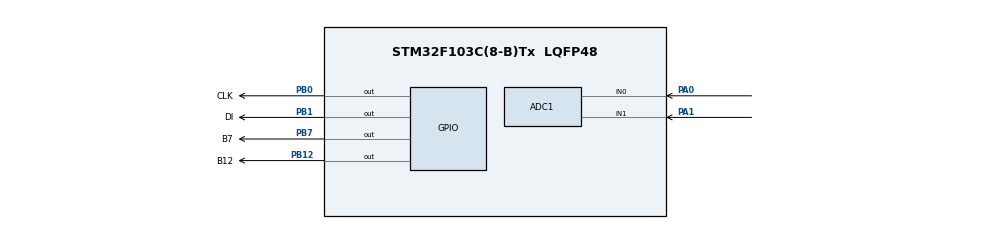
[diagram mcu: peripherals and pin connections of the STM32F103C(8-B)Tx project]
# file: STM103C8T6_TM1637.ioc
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ADC1.Channel-0\#ChannelRegularConversion=ADC_CHANNEL_0
ADC1.NbrOfConversionFlag=1
ADC1.Rank-0\#ChannelRegularConversion=1
ADC1.SamplingTime-0\#ChannelRegularConversion=ADC_SAMPLETIME_1CYCLE_5
ADC1.master=1
Mcu.Family=STM32F1
Mcu.Name=STM32F103C(8-B)Tx
Mcu.Package=LQFP48
NVIC.PriorityGroup=NVIC_PRIORITYGROUP_4
PA0-WKUP.Signal=ADCx_IN0
PA1.Signal=ADCx_IN1
PA13.Mode=Serial_Wire
PA13.Signal=SYS_JTMS-SWDIO
PA14.Mode=Serial_Wire
PA14.Signal=SYS_JTCK-SWCLK
PB0.GPIO_Label=CLK
PB0.GPIO_ModeDefaultOutputPP=GPIO_MODE_OUTPUT_OD
PB0.GPIO_PuPd=GPIO_PULLUP
PB0.GPIO_Speed=GPIO_SPEED_FREQ_HIGH
PB0.Signal=GPIO_Output
PB1.GPIO_Label=DI
PB1.GPIO_ModeDefaultOutputPP=GPIO_MODE_OUTPUT_OD
PB1.GPIO_PuPd=GPIO_PULLUP
PB1.GPIO_Speed=GPIO_SPEED_FREQ_HIGH
PB1.Signal=GPIO_Output
PB12.GPIO_Label=B12
PB12.Signal=GPIO_Output
PB7.GPIO_Label=B7
PB7.Signal=GPIO_Output
PD0-OSC_IN.Mode=HSE-External-Oscillator
PD0-OSC_IN.Signal=RCC_OSC_IN
PD1-OSC_OUT.Mode=HSE-External-Oscillator
PD1-OSC_OUT.Signal=RCC_OSC_OUT
ProjectManager.HeapSize=0x200
ProjectManager.StackSize=0x400
ProjectManager.TargetToolchain=TrueSTUDIO
RCC.ADCPresc=RCC_ADCPCLK2_DIV6
RCC.AHBFreq_Value=72000000
RCC.APB1CLKDivider=RCC_HCLK_DIV2
RCC.APB1Freq_Value=36000000
RCC.APB1TimFreq_Value=72000000
RCC.APB2Freq_Value=72000000
RCC.APB2TimFreq_Value=72000000
RCC.EnbaleCSS=true
RCC.HCLKFreq_Value=72000000
RCC.PLLMUL=RCC_PLL_MUL9
RCC.PLLSourceVirtual=RCC_PLLSOURCE_HSE
RCC.SYSCLKFreq_VALUE=72000000
RCC.SYSCLKSource=RCC_SYSCLKSOURCE_PLLCLK
RCC.USBFreq_Value=72000000
SH.ADCx_IN0.0=ADC1_IN0,IN0
SH.ADCx_IN1.0=ADC1_IN1,IN1
VP_TIM2_VS_ClockSourceINT.Mode=Internal
board=custom

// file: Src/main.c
/* USER CODE BEGIN Header */
/**
  ******************************************************************************
  * @file           : main.c
  * @brief          : Main program body
  ******************************************************************************
  ** This notice applies to any and all portions of this file
  * that are not between comment pairs USER CODE BEGIN and
  * USER CODE END. Other portions of this file, whether
  * inserted by the user or by software development tools
  * are owned by their respective copyright owners.
  *
  * COPYRIGHT(c) 2019 STMicroelectronics
  *
  * Redistribution and use in source and binary forms, with or without modification,
  * are permitted provided that the following conditions are met:
  *   1. Redistributions of source code must retain the above copyright notice,
  *      this list of conditions and the following disclaimer.
  *   2. Redistributions in binary form must reproduce the above copyright notice,
  *      this list of conditions and the following disclaimer in the documentation
  *      and/or other materials provided with the distribution.
  *   3. Neither the name of STMicroelectronics nor the names of its contributors
  *      may be used to endorse or promote products derived from this software
  *      without specific prior written permission.
  *
  * THIS SOFTWARE IS PROVIDED BY THE COPYRIGHT HOLDERS AND CONTRIBUTORS "AS IS"
  * AND ANY EXPRESS OR IMPLIED WARRANTIES, INCLUDING, BUT NOT LIMITED TO, THE
  * IMPLIED WARRANTIES OF MERCHANTABILITY AND FITNESS FOR A PARTICULAR PURPOSE ARE
  * DISCLAIMED. IN NO EVENT SHALL THE COPYRIGHT HOLDER OR CONTRIBUTORS BE LIABLE
  * FOR ANY DIRECT, INDIRECT, INCIDENTAL, SPECIAL, EXEMPLARY, OR CONSEQUENTIAL
  * DAMAGES (INCLUDING, BUT NOT LIMITED TO, PROCUREMENT OF SUBSTITUTE GOODS OR
  * SERVICES; LOSS OF USE, DATA, OR PROFITS; OR BUSINESS INTERRUPTION) HOWEVER
  * CAUSED AND ON ANY THEORY OF LIABILITY, WHETHER IN CONTRACT, STRICT LIABILITY,
  * OR TORT (INCLUDING NEGLIGENCE OR OTHERWISE) ARISING IN ANY WAY OUT OF THE USE
  * OF THIS SOFTWARE, EVEN IF ADVISED OF THE POSSIBILITY OF SUCH DAMAGE.
  *
  ******************************************************************************
  */
/* USER CODE END Header */

#include "main.h"
#include "adc.h"
#include "tim.h"
#include "gpio.h"

/* USER CODE BEGIN Includes */
#include "tm1637.h"
volatile uint32_t SysTickValue;
volatile uint32_t tickstart;
void Delay(uint32_t msDelay)
{
  tickstart = SysTickValue;
  while((SysTickValue - tickstart) < msDelay);
}
/* USER CODE END Includes */

void SystemClock_Config(void);

int main(void)
{

  /* MCU Configuration--------------------------------------------------------*/

  /* Reset of all peripherals, Initializes the Flash interface and the Systick. */

  LL_APB2_GRP1_EnableClock(LL_APB2_GRP1_PERIPH_AFIO);
  LL_APB1_GRP1_EnableClock(LL_APB1_GRP1_PERIPH_PWR);

  NVIC_SetPriorityGrouping(NVIC_PRIORITYGROUP_4);

  /* System interrupt init*/

  /**NOJTAG: JTAG-DP Disabled and SW-DP Enabled
  */
  LL_GPIO_AF_Remap_SWJ_NOJTAG();

  /* Configure the system clock */
  SystemClock_Config();

  /* Initialize all configured peripherals */
  MX_GPIO_Init();
  MX_ADC1_Init();
  MX_TIM2_Init();
  /* USER CODE BEGIN 2 */
  LL_SYSTICK_EnableIT();
  tm1637Init();
  tm1637SetBrightness(8);
  tm1637DisplayDecimal(1234, 1);
  uint16_t x=0;
  /* USER CODE END 2 */

  /* Infinite loop */
  while (1)
  {

    /* USER CODE BEGIN 3 */
	  tm1637DisplayDecimal(x, 0);
	  x++;
	  if(x>9998) x=0;
	  Delay(10);

	  /*LL_GPIO_SetOutputPin(GPIOB,LL_GPIO_PIN_12);
	  LL_GPIO_SetOutputPin(GPIOB,LL_GPIO_PIN_7);
	  Delay(300);
	  LL_GPIO_ResetOutputPin(GPIOB,LL_GPIO_PIN_12);
	  LL_GPIO_ResetOutputPin(GPIOB,LL_GPIO_PIN_7);
	  Delay(300);*/

  }
  /* USER CODE END 3 */
}

void SystemClock_Config(void)
{
  LL_FLASH_SetLatency(LL_FLASH_LATENCY_2);

   if(LL_FLASH_GetLatency() != LL_FLASH_LATENCY_2)
  {
    Error_Handler();
  }
  LL_RCC_HSE_Enable();

   /* Wait till HSE is ready */
  while(LL_RCC_HSE_IsReady() != 1)
  {

  }
  LL_RCC_HSE_EnableCSS();
  LL_RCC_PLL_ConfigDomain_SYS(LL_RCC_PLLSOURCE_HSE_DIV_1, LL_RCC_PLL_MUL_9);
  LL_RCC_PLL_Enable();

   /* Wait till PLL is ready */
  while(LL_RCC_PLL_IsReady() != 1)
  {

  }
  LL_RCC_SetAHBPrescaler(LL_RCC_SYSCLK_DIV_1);
  LL_RCC_SetAPB1Prescaler(LL_RCC_APB1_DIV_2);
  LL_RCC_SetAPB2Prescaler(LL_RCC_APB2_DIV_1);
  LL_RCC_SetSysClkSource(LL_RCC_SYS_CLKSOURCE_PLL);

   /* Wait till System clock is ready */
  while(LL_RCC_GetSysClkSource() != LL_RCC_SYS_CLKSOURCE_STATUS_PLL)
  {

  }
  LL_Init1msTick(72000000);
  LL_SYSTICK_SetClkSource(LL_SYSTICK_CLKSOURCE_HCLK);
  LL_SetSystemCoreClock(72000000);
  LL_RCC_SetADCClockSource(LL_RCC_ADC_CLKSRC_PCLK2_DIV_6);
}

void Error_Handler(void)
{
}

/************************ (C) COPYRIGHT STMicroelectronics *****END OF FILE****/
